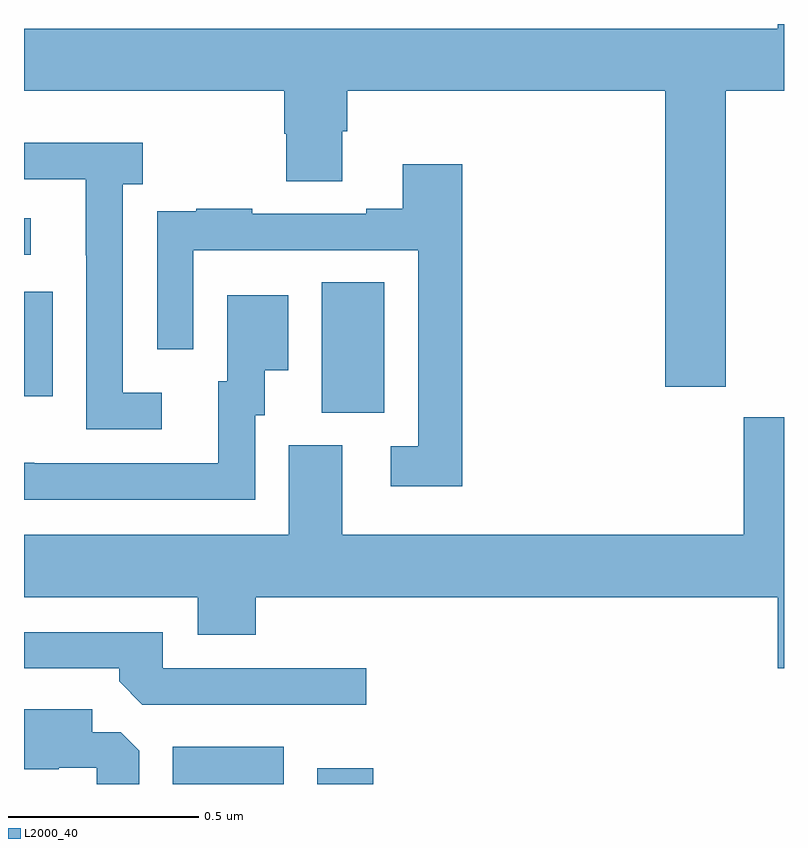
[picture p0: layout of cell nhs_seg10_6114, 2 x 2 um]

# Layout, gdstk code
import gdstk
lib = gdstk.Library(unit=1e-6, precision=1e-09)
def R(c, l, rs):  # rectangles x0, y0, x1, y1
    for r in rs: c.add(gdstk.rectangle(r[:2], r[2:], *l))
def P(c, l, *ps):  # polygons
    for p in ps: c.add(gdstk.Polygon(p, *l))
L2000_40 = (2000, 40)

nhs_seg10_6114 = lib.new_cell('nhs_seg10_6114')
R(nhs_seg10_6114, L2000_40, [(187.391,1290.5,187.684,1290.598), (187.772,1290.5,187.919,1290.541), (187.784,1291.477,187.948,1291.82), (187,1291.521,187.075,1291.795), (187,1291.893,187.018,1291.989)])
P(nhs_seg10_6114, L2000_40, [(188.847,1292.324),(189,1292.324),(189,1292.5),(188.984,1292.5),(188.984,1292.488),(187,1292.488),(187,1292.324),(187.685,1292.324),(187.685,1292.211),(187.69,1292.211),(187.69,1292.086),(187.837,1292.086),(187.837,1292.218),(187.85,1292.218),(187.85,1292.324),(188.687,1292.324),(188.687,1291.545),(188.847,1291.545)],
  [(187.363,1291.53),(187.26,1291.53),(187.26,1292.078),(187.312,1292.078),(187.312,1292.188),(187,1292.188),(187,1292.091),(187.163,1292.091),(187.163,1291.891),(187.164,1291.891),(187.164,1291.434),(187.363,1291.434)],
  [(188.153,1292.131),(187.997,1292.131),(187.997,1292.014),(187.901,1292.014),(187.901,1292.001),(187.601,1292.001),(187.601,1292.014),(187.453,1292.014),(187.453,1292.007),(187.351,1292.007),(187.351,1291.898),(187.35,1291.898),(187.35,1291.644),(187.446,1291.644),(187.446,1291.905),(188.037,1291.905),(188.037,1291.389),(187.965,1291.389),(187.965,1291.284),(188.153,1291.284)],
  [(187.608,1291.47),(187.633,1291.47),(187.633,1291.589),(187.696,1291.589),(187.696,1291.786),(187.535,1291.786),(187.535,1291.56),(187.511,1291.56),(187.511,1291.344),(187.027,1291.344),(187.027,1291.345),(187,1291.345),(187,1291.248),(187.608,1291.248)],
  [(187,1290.992),(187.457,1290.992),(187.457,1290.893),(187.61,1290.893),(187.61,1290.992),(188.984,1290.992),(188.984,1290.804),(189,1290.804),(189,1291.465),(188.894,1291.465),(188.894,1291.156),(187.837,1291.156),(187.837,1291.392),(187.697,1291.392),(187.697,1291.156),(187,1291.156)],
  [(187.9,1290.804),(187.365,1290.804),(187.365,1290.9),(187,1290.9),(187,1290.804),(187.25,1290.804),(187.25,1290.77),(187.311,1290.708),(187.9,1290.708)],
  [(187.303,1290.587),(187.254,1290.636),(187.18,1290.636),(187.18,1290.697),(187,1290.697),(187,1290.539),(187.091,1290.539),(187.091,1290.543),(187.191,1290.543),(187.191,1290.5),(187.303,1290.5)])

lib.write_gds('nhs_seg10_6114.gds')
